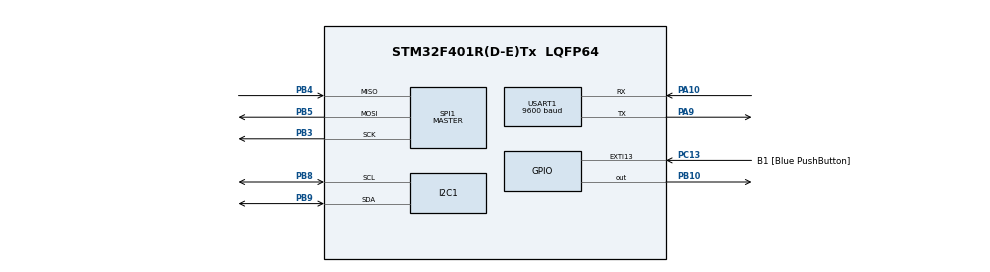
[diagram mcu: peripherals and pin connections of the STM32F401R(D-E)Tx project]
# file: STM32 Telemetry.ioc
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I2C1.Timing=0x20404768
Mcu.Family=STM32F4
Mcu.Name=STM32F401R(D-E)Tx
Mcu.Package=LQFP64
NVIC.PriorityGroup=NVIC_PRIORITYGROUP_4
PA10.Mode=Asynchronous
PA10.Signal=USART1_RX
PA13.GPIO_Label=TMS
PA13.Signal=SYS_JTMS-SWDIO
PA14.GPIO_Label=TCK
PA14.Signal=SYS_JTCK-SWCLK
PA9.Mode=Asynchronous
PA9.Signal=USART1_TX
PB10.Signal=GPIO_Output
PB3.Mode=Full_Duplex_Master
PB3.Signal=SPI1_SCK
PB4.Mode=Full_Duplex_Master
PB4.Signal=SPI1_MISO
PB5.Mode=Full_Duplex_Master
PB5.Signal=SPI1_MOSI
PB8.Mode=I2C
PB8.Signal=I2C1_SCL
PB9.Mode=I2C
PB9.Signal=I2C1_SDA
PC13-ANTI_TAMP.GPIO_Label=B1 [Blue PushButton]
PC13-ANTI_TAMP.GPIO_ModeDefaultEXTI=GPIO_MODE_IT_FALLING
PC13-ANTI_TAMP.GPIO_PuPd=GPIO_NOPULL
PC13-ANTI_TAMP.Signal=GPXTI13
PC14-OSC32_IN.Signal=RCC_OSC32_IN
PC15-OSC32_OUT.Signal=RCC_OSC32_OUT
PH0\ -\ OSC_IN.Signal=RCC_OSC_IN
PH1\ -\ OSC_OUT.Signal=RCC_OSC_OUT
ProjectManager.HeapSize=0x200
ProjectManager.StackSize=0x400
ProjectManager.TargetToolchain=STM32CubeIDE
RCC.AHBFreq_Value=16000000
RCC.APB1Freq_Value=16000000
RCC.APB1TimFreq_Value=16000000
RCC.APB2Freq_Value=16000000
RCC.APB2TimFreq_Value=16000000
RCC.CortexFreq_Value=16000000
RCC.HSE_VALUE=25000000
RCC.HSI_VALUE=16000000
RCC.LSE_VALUE=32768
RCC.PLLN=336
RCC.PLLP=RCC_PLLP_DIV4
RCC.PLLQ=7
RCC.SYSCLKFreq_VALUE=16000000
RCC.VCOOutputFreq_Value=336000000
SPI1.Direction=SPI_DIRECTION_2LINES
SPI1.Mode=SPI_MODE_MASTER
SPI1.VirtualType=VM_MASTER
USART1.BaudRate=9600
USART1.VirtualMode=VM_ASYNC
VP_FATFS_VS_Generic.Mode=User_defined
board=NUCLEO-F401RE

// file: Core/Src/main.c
/* USER CODE BEGIN Header */
/**
  ******************************************************************************
  * @file           : main.c
  * @brief          : Main program body (Drone Telemetry Decoder, OLED rate + time display)
  ******************************************************************************
  */
/* USER CODE END Header */
#include "main.h"
#include "fatfs.h"

#include <stdio.h>
#include <string.h>
#include <stdlib.h>
#include "ssd1306.h"
#include "ssd1306_fonts.h"

// --- Telemetry Data Structure ---
typedef struct {
    float altitude;
    float speed;
    float voltage;

    uint32_t timestamp_ms;   // From log (milliseconds from flight start)
    uint32_t hours;          // From log
    uint32_t minutes;
    uint32_t seconds;

    // Previous (for rate calculation)
    float altitude_prev;
    float speed_prev;
    float voltage_prev;
    uint32_t timestamp_prev;

    // Calculated rates
    float altitude_rate;
    float speed_rate;
    float voltage_rate;
} TelemetryData_t;

#define RX_BUFFER_SIZE 128
#define SD_CS_PORT GPIOB
#define SD_CS_PIN  GPIO_PIN_10

I2C_HandleTypeDef hi2c1;
SPI_HandleTypeDef hspi1;
UART_HandleTypeDef huart1;

/* USER CODE BEGIN PV */
TelemetryData_t g_telemetry = {0};
uint8_t rx_buffer[RX_BUFFER_SIZE];
uint8_t rx_char;
FATFS fs;
FIL fil;
FRESULT f_res;
uint32_t bytes_written;
uint8_t is_mounted = 0;
extern Diskio_drvTypeDef  USER_Driver;
/* USER CODE END PV */

void SystemClock_Config(void);
static void MX_GPIO_Init(void);
static void MX_I2C1_Init(void);
static void MX_USART1_UART_Init(void);
static void MX_SPI1_Init(void);
/* USER CODE BEGIN PFP */
void Telemetry_ReceiveAndParse(void);
void Telemetry_Display(const TelemetryData_t *data);
void Telemetry_Log(const TelemetryData_t *data);
void Mount_SD_Card(void);
/* USER CODE END PFP */
/* USER CODE BEGIN 0 */

/** Attempt to mount SD card and write CSV header if file is new */
void Mount_SD_Card(void)
{
    if (!is_mounted) {
        f_res = f_mount(&fs, "", 1);
        if (f_res == FR_OK) {
            is_mounted = 1;
            f_res = f_open(&fil, "telemetry.csv", FA_OPEN_ALWAYS | FA_WRITE);
            if (f_res == FR_OK) {
                if (f_size(&fil) == 0) {
                    f_puts("TimeMS,Hour,Min,Sec,Altitude,Speed,Voltage\n", &fil);
                }
                f_close(&fil);
            }
        }
    }
}

void Telemetry_Log(const TelemetryData_t *data)
{
    if (!is_mounted) {
        Mount_SD_Card();
        return;
    }
    char logBuffer[100];
    sprintf(logBuffer, "%lu,%lu,%lu,%lu,%.2f,%.2f,%.2f\n",
        data->timestamp_ms, data->hours, data->minutes, data->seconds,
        data->altitude, data->speed, data->voltage);
    f_res = f_open(&fil, "telemetry.csv", FA_OPEN_APPEND | FA_WRITE);
    if (f_res == FR_OK)
    {
        f_write(&fil, logBuffer, strlen(logBuffer), (void*)&bytes_written);
        f_sync(&fil);
        f_close(&fil);
    }
}

void Telemetry_Display(const TelemetryData_t *data)
{
    char lineBuffer[32];

    ssd1306_Fill(Black);

    // Line 1: Time
    ssd1306_SetCursor(0, 0);
    sprintf(lineBuffer, "T:%02lu:%02lu:%02lu", data->hours, data->minutes, data->seconds);
    ssd1306_WriteString(lineBuffer, Font_7x10, White);

    // Line 2: Alt + its rate
    ssd1306_SetCursor(0, 12);
    sprintf(lineBuffer, "ALT:%.2f(%+.2f)", data->altitude, data->altitude_rate);
    ssd1306_WriteString(lineBuffer, Font_7x10, White);

    // Line 3: Speed + its rate
    ssd1306_SetCursor(0, 24);
    sprintf(lineBuffer, "SPD:%.2f(%+.2f)", data->speed, data->speed_rate);
    ssd1306_WriteString(lineBuffer, Font_7x10, White);

    // Line 4: Volt + its rate
    ssd1306_SetCursor(0, 36);
    sprintf(lineBuffer, "V:%.2f(%+.3f)", data->voltage, data->voltage_rate);
    ssd1306_WriteString(lineBuffer, Font_7x10, White);

    ssd1306_SetCursor(0, 48);
    ssd1306_WriteString(is_mounted ? "LOGGING: OK" : "LOGGING: FAIL", Font_6x8, White);

    ssd1306_UpdateScreen();
}

/** Receives one line of telemetry, parses CSV, calculates rates, updates times from log */
void Telemetry_ReceiveAndParse(void)
{
    static uint32_t buffer_index = 0;

    if (HAL_UART_Receive(&huart1, &rx_char, 1, 100) == HAL_OK)
    {
        if (rx_char == '\n' || buffer_index >= RX_BUFFER_SIZE - 1)
        {
            rx_buffer[buffer_index] = '\0';
            buffer_index = 0;

            // --- CSV FORMAT: TimeMS,Hour,Min,Sec,Altitude,Speed,Voltage ---
            uint32_t time_ms, h, m, s;
            float alt, spd, volt;

            int parsed = sscanf((char*)rx_buffer, "%lu,%lu,%lu,%lu,%f,%f,%f",
                &time_ms, &h, &m, &s, &alt, &spd, &volt);
            if (parsed == 7)
            {
                // Compute deltas for rate-of-change
                float delta_time = (time_ms - g_telemetry.timestamp_ms) / 1000.0f;
                if(delta_time < 0.001f) delta_time = 0.001f; // avoid zero

                g_telemetry.altitude_rate = (alt - g_telemetry.altitude) / delta_time;
                g_telemetry.speed_rate    = (spd - g_telemetry.speed) / delta_time;
                g_telemetry.voltage_rate  = (volt - g_telemetry.voltage) / delta_time;

                g_telemetry.timestamp_ms = time_ms;
                g_telemetry.hours = h;
                g_telemetry.minutes = m;
                g_telemetry.seconds = s;
                g_telemetry.altitude = alt;
                g_telemetry.speed = spd;
                g_telemetry.voltage = volt;

                Telemetry_Display(&g_telemetry);
                Telemetry_Log(&g_telemetry);
            }
        } else {
            rx_buffer[buffer_index++] = rx_char;
        }
    }
}
/* USER CODE END 0 */

int main(void)
{
  HAL_Init();
  SystemClock_Config();
  MX_GPIO_Init();
  MX_I2C1_Init();
  MX_USART1_UART_Init();
  MX_SPI1_Init();
  MX_FATFS_Init();

  HAL_GPIO_WritePin(SD_CS_PORT, SD_CS_PIN, GPIO_PIN_SET);
  ssd1306_Init();
  Mount_SD_Card();
  Telemetry_Display(&g_telemetry);

  while (1)
  {
      Telemetry_ReceiveAndParse();
      HAL_Delay(10);
  }
}
